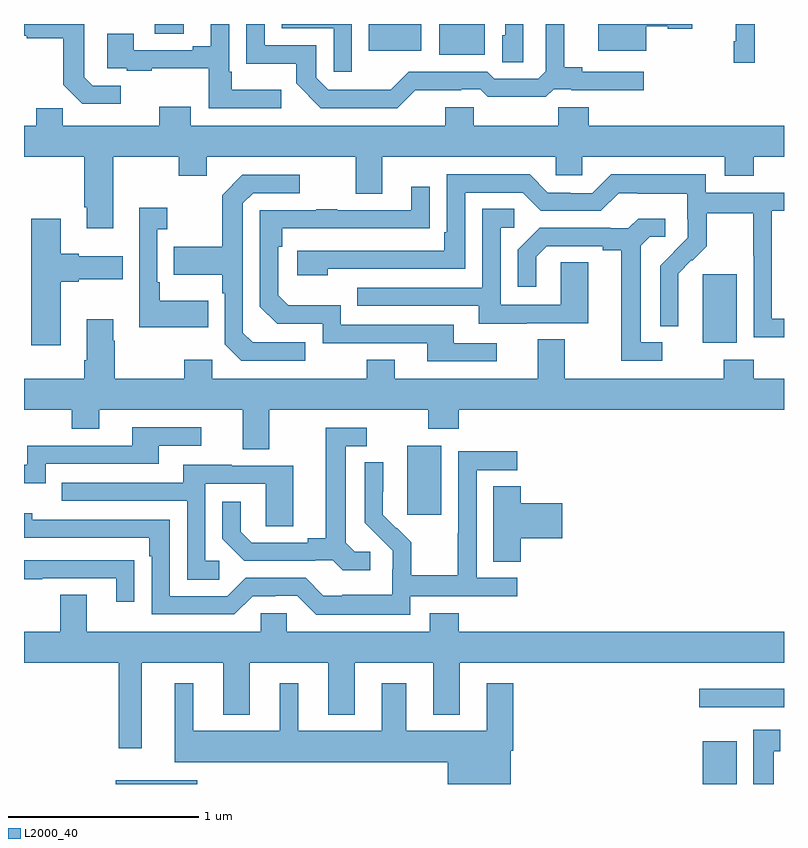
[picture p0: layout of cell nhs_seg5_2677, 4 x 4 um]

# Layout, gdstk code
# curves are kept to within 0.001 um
import gdstk
lib = gdstk.Library(unit=1e-6, precision=1e-09)
def R(c, l, rs):  # rectangles x0, y0, x1, y1
    for r in rs: c.add(gdstk.rectangle(r[:2], r[2:], *l))
def P(c, l, *ps):  # polygons
    for p in ps: c.add(gdstk.Polygon(p, *l))
L2000_40 = (2000, 40)

nhs_seg5_2677 = lib.new_cell('nhs_seg5_2677')
R(nhs_seg5_2677, L2000_40, [(267.482,846.799,267.913,846.82), (270.572,846.799,270.751,847.024), (270.555,847.203,271,847.3), (269.018,848.217,269.197,848.578), (270.572,849.122,270.751,849.483), (269.186,850.637,269.425,850.799), (268.814,850.658,269.092,850.799), (267.689,850.747,267.841,850.799)])
P(nhs_seg5_2677, L2000_40, [(270.274,850.787),(270.387,850.787),(270.387,850.775),(270.517,850.775),(270.517,850.799),(270.023,850.799),(270.023,850.658),(270.274,850.658)],
  [(269.628,850.799),(269.532,850.799),(269.532,850.74),(269.516,850.74),(269.516,850.597),(269.628,850.597)],
  [(268.354,850.453),(268.093,850.453),(268.093,850.549),(268.08,850.549),(268.08,850.799),(267.983,850.799),(267.983,850.681),(267.887,850.681),(267.887,850.662),(267.577,850.662),(267.577,850.747),(267.437,850.747),(267.437,850.566),(267.541,850.566),(267.541,850.554),(267.673,850.554),(267.673,850.565),(267.972,850.565),(267.972,850.356),(268.354,850.356)],
  [(270.845,850.799),(270.745,850.799),(270.745,850.708),(270.735,850.708),(270.735,850.596),(270.845,850.596)],
  [(268.725,850.799),(268.356,850.799),(268.356,850.776),(268.629,850.776),(268.629,850.548),(268.725,850.548)],
  [(269.06,850.451),(269.3,850.451),(269.3,850.455),(269.4,850.455),(269.44,850.416),(269.747,850.416),(269.787,850.455),(269.881,850.455),(269.881,850.451),(270.262,850.451),(270.262,850.548),(269.938,850.548),(269.938,850.571),(269.843,850.571),(269.843,850.799),(269.745,850.799),(269.745,850.551),(269.706,850.512),(269.475,850.512),(269.439,850.548),(269.025,850.548),(268.931,850.454),(268.826,850.454),(268.826,850.452),(268.602,850.452),(268.539,850.515),(268.539,850.686),(268.266,850.686),(268.266,850.799),(268.17,850.799),(268.17,850.589),(268.432,850.589),(268.432,850.487),(268.562,850.356),(268.965,850.356)],
  [(267.508,850.473),(267.363,850.473),(267.316,850.52),(267.316,850.615),(267.318,850.615),(267.318,850.799),(267,850.799),(267,850.737),(267.015,850.737),(267.015,850.725),(267.207,850.725),(267.207,850.479),(267.307,850.379),(267.508,850.379)],
  [(267.469,850.1),(267.814,850.1),(267.814,850.001),(267.961,850.001),(267.961,850.1),(268.745,850.1),(268.745,849.906),(268.885,849.906),(268.885,850.1),(269.799,850.1),(269.799,850.002),(269.937,850.002),(269.937,850.1),(270.689,850.1),(270.689,850.001),(270.842,850.001),(270.842,850.1),(271,850.1),(271,850.264),(269.972,850.264),(269.972,850.362),(269.812,850.362),(269.812,850.264),(269.367,850.264),(269.367,850.362),(269.216,850.362),(269.216,850.264),(267.877,850.264),(267.877,850.363),(267.713,850.363),(267.713,850.264),(267.203,850.264),(267.203,850.355),(267.065,850.355),(267.065,850.264),(267,850.264),(267,850.1),(267.317,850.1),(267.317,849.835),(267.329,849.835),(267.329,849.723),(267.469,849.723)],
  [(271,849.249),(270.936,849.249),(270.936,849.816),(271,849.816),(271,849.912),(270.588,849.912),(270.588,850.009),(270.091,850.009),(269.991,849.909),(269.876,849.909),(269.876,849.912),(269.757,849.912),(269.661,850.008),(269.226,850.008),(269.226,849.703),(269.213,849.703),(269.213,849.606),(268.437,849.606),(268.437,849.476),(268.598,849.476),(268.598,849.51),(269.322,849.51),(269.322,849.912),(269.625,849.912),(269.721,849.816),(270.036,849.816),(270.129,849.909),(270.229,849.909),(270.229,849.905),(270.492,849.905),(270.492,849.771),(270.494,849.771),(270.494,849.674),(270.348,849.526),(270.348,849.208),(270.444,849.208),(270.443,849.485),(270.513,849.555),(270.516,849.552),(270.593,849.629),(270.593,849.804),(270.838,849.804),(270.838,849.58),(270.84,849.58),(270.84,849.151),(271,849.151)],
  [(268.48,849.123),(268.203,849.123),(268.152,849.174),(268.152,849.855),(268.206,849.909),(268.45,849.909),(268.45,850.005),(268.149,850.005),(268.044,849.899),(268.044,849.627),(267.787,849.627),(267.787,849.479),(268.044,849.479),(268.044,849.383),(268.056,849.383),(268.056,849.114),(268.143,849.027),(268.48,849.027)],
  [(269.488,849.12),(269.263,849.12),(269.263,849.216),(268.668,849.216),(268.668,849.319),(268.391,849.319),(268.338,849.372),(268.338,849.626),(268.358,849.626),(268.358,849.723),(269.135,849.724),(269.135,849.943),(269.039,849.943),(269.039,849.819),(268.649,849.819),(268.649,849.824),(268.537,849.824),(268.537,849.819),(268.242,849.819),(268.242,849.312),(268.332,849.222),(268.572,849.222),(268.572,849.12),(269.123,849.12),(269.123,849.024),(269.488,849.024)],
  [(267.971,849.343),(267.715,849.343),(267.715,849.439),(267.702,849.439),(267.702,849.719),(267.754,849.719),(267.754,849.832),(267.606,849.832),(267.606,849.203),(267.971,849.203)],
  [(269.647,849.225),(269.971,849.225),(269.971,849.545),(269.826,849.545),(269.826,849.321),(269.508,849.321),(269.508,849.726),(269.581,849.726),(269.581,849.827),(269.412,849.827),(269.412,849.411),(268.753,849.411),(268.753,849.315),(269.393,849.315),(269.393,849.221),(269.647,849.221)],
  [(267.193,849.443),(267.289,849.443),(267.289,849.455),(267.52,849.455),(267.52,849.577),(267.289,849.577),(267.289,849.59),(267.193,849.59),(267.193,849.775),(267.038,849.775),(267.038,849.108),(267.193,849.108)],
  [(270.358,849.123),(270.247,849.123),(270.247,849.631),(270.294,849.678),(270.376,849.678),(270.376,849.775),(270.232,849.775),(270.18,849.723),(270.086,849.723),(270.086,849.726),(269.714,849.726),(269.598,849.61),(269.598,849.417),(269.695,849.417),(269.695,849.573),(269.752,849.63),(270.047,849.63),(270.047,849.608),(270.143,849.608),(270.143,849.027),(270.358,849.027)],
  [(271,848.932),(270.842,848.932),(270.842,849.031),(270.682,849.031),(270.682,848.932),(269.845,848.932),(269.845,849.14),(269.705,849.14),(269.705,848.932),(268.951,848.932),(268.951,849.031),(268.804,849.031),(268.804,848.932),(267.99,848.932),(267.99,849.031),(267.844,849.031),(267.844,848.932),(267.477,848.932),(267.477,849.131),(267.469,849.131),(267.469,849.244),(267.329,849.244),(267.329,849.028),(267.317,849.028),(267.317,848.932),(267,848.932),(267,848.768),(267.25,848.768),(267.25,848.669),(267.397,848.669),(267.397,848.768),(268.151,848.768),(268.151,848.56),(268.291,848.56),(268.291,848.768),(269.128,848.768),(269.128,848.669),(269.288,848.669),(269.288,848.768),(271,848.768)],
  [(267.114,848.484),(267.709,848.484),(267.709,848.58),(267.934,848.58),(267.934,848.676),(267.569,848.676),(267.569,848.58),(267.018,848.58),(267.018,848.478),(267,848.478),(267,848.381),(267.114,848.381)],
  [(268.822,848.022),(268.74,848.022),(268.693,848.069),(268.693,848.577),(268.804,848.577),(268.804,848.673),(268.589,848.673),(268.589,848.093),(268.493,848.093),(268.493,848.07),(268.198,848.07),(268.141,848.127),(268.141,848.284),(268.044,848.284),(268.044,848.09),(268.16,847.974),(268.532,847.974),(268.532,847.977),(268.626,847.977),(268.678,847.925),(268.822,847.925)],
  [(269.034,847.788),(269.596,847.788),(269.596,847.884),(269.382,847.884),(269.382,848.451),(269.596,848.451),(269.596,848.55),(269.286,848.55),(269.286,848.12),(269.284,848.12),(269.284,847.897),(269.039,847.897),(269.039,848.071),(268.962,848.148),(268.959,848.145),(268.889,848.216),(268.89,848.492),(268.794,848.492),(268.794,848.174),(268.94,848.026),(268.94,847.929),(268.938,847.929),(268.938,847.795),(268.675,847.795),(268.675,847.791),(268.575,847.791),(268.482,847.884),(268.167,847.884),(268.071,847.788),(267.768,847.788),(267.768,848.19),(267.044,848.19),(267.044,848.224),(267,848.224),(267,848.094),(267.659,848.094),(267.659,847.997),(267.672,847.997),(267.672,847.692),(268.107,847.692),(268.203,847.788),(268.322,847.788),(268.322,847.791),(268.437,847.791),(268.537,847.691),(269.034,847.691)],
  [(268.027,847.974),(267.954,847.974),(267.954,848.379),(268.272,848.379),(268.272,848.155),(268.417,848.155),(268.417,848.475),(268.093,848.475),(268.093,848.479),(267.839,848.479),(267.839,848.385),(267.199,848.385),(267.199,848.289),(267.858,848.289),(267.858,847.873),(268.027,847.873)],
  [(269.615,848.093),(269.833,848.093),(269.833,848.276),(269.615,848.276),(269.615,848.366),(269.471,848.366),(269.471,847.969),(269.615,847.969)],
  [(267.581,847.976),(267.479,847.976),(267.479,847.977),(267,847.977),(267,847.876),(267.095,847.876),(267.095,847.881),(267.485,847.881),(267.485,847.758),(267.581,847.758)],
  [(267.619,847.436),(268.049,847.436),(268.049,847.163),(268.189,847.163),(268.189,847.436),(268.601,847.436),(268.601,847.163),(268.741,847.163),(268.741,847.436),(269.153,847.436),(269.153,847.163),(269.293,847.163),(269.293,847.436),(271,847.436),(271,847.6),(269.288,847.6),(269.288,847.699),(269.135,847.699),(269.135,847.6),(268.383,847.6),(268.383,847.698),(268.245,847.698),(268.245,847.6),(267.331,847.6),(267.331,847.795),(267.191,847.795),(267.191,847.6),(267,847.6),(267,847.436),(267.498,847.436),(267.498,846.987),(267.619,846.987)],
  [(269.563,846.974),(269.576,846.974),(269.576,847.33),(269.435,847.33),(269.435,847.078),(269.011,847.078),(269.011,847.33),(268.883,847.33),(268.883,847.078),(268.444,847.078),(268.444,847.33),(268.346,847.33),(268.346,847.078),(267.892,847.078),(267.892,847.33),(267.794,847.33),(267.794,846.914),(269.231,846.914),(269.231,846.799),(269.563,846.799)],
  [(270.946,846.971),(270.979,846.971),(270.979,847.084),(270.839,847.084),(270.839,846.799),(270.946,846.799)])

lib.write_gds('nhs_seg5_2677.gds')
